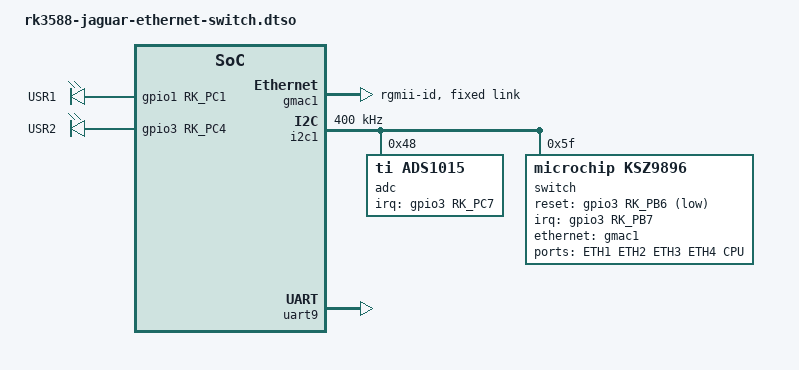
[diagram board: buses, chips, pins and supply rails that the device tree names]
// SPDX-License-Identifier: (GPL-2.0+ OR MIT)
/*
 * Copyright (c) 2025 Cherry Embedded Solutions GmbH
 *
 * Device Tree Overlay for the Ethernet Switch adapter for the Mezzanine
 * connector on RK3588 Jaguar
 * (manual: https://embedded.cherry.de/jaguar-ethernet-switch-user-manual/)
 *
 * This adapter has a KSZ9896 Ethernet Switch with 4 1GbE Ethernet connectors,
 * two user controllable LEDs, and an M12 12-pin connector which exposes the
 * following signals:
 *  - RS232/RS485 (max 250Kbps/500Kbps, RX pin1, TX pin2)
 *  - two digital inputs (pin4 routed to GPIO3_C5 on SoC, pin5 to GPIO4_B4)
 *  - two digital outputs (pin7 routed to GPIO3_D3 on SoC, pin8 to GPIO3_D1)
 *  - two analog inputs (pin10 to channel1 of ADS1015, pin11 to channel2)
 *
 * RK3588 Jaguar can be powered entirely through the adapter via the M8 3-pin
 * connector (12-24V).
 */

/dts-v1/;
/plugin/;

#include <dt-bindings/clock/rockchip,rk3588-cru.h>
#include <dt-bindings/gpio/gpio.h>
#include <dt-bindings/interrupt-controller/irq.h>
#include <dt-bindings/leds/common.h>
#include <dt-bindings/pinctrl/rockchip.h>

&{/} {
	aliases {
		ethernet1 = "/ethernet@fe1c0000";
	};

	mezzanine-leds {
		compatible = "gpio-leds";
		pinctrl-names = "default";
		pinctrl-0 = <&led_usr1_pin &led_usr2_pin>;

		led-1 {
			gpios = <&gpio1 RK_PC1 GPIO_ACTIVE_HIGH>;
			label = "USR1";
		};

		led-2 {
			gpios = <&gpio3 RK_PC4 GPIO_ACTIVE_HIGH>;
			label = "USR2";
		};
	};
};

&gmac1 {
	clock_in_out = "output";
	phy-mode = "rgmii-id";
	pinctrl-names = "default";
	pinctrl-0 = <&gmac1_rx_bus2
		     &gmac1_tx_bus2
		     &gmac1_rgmii_clk
		     &gmac1_rgmii_bus
		     &eth1_pins>;
	rx_delay = <0x0>;
	tx_delay = <0x0>;
	status = "okay";

	fixed-link {
		speed = <1000>;
		full-duplex;
	};
};

&i2c1 {
	#address-cells = <1>;
	/*
	 * ADS1015 can handle high-speed (HS) mode (up to 3.4MHz) on I2C bus,
	 * but SoC can handle only up to 400kHz.
	 */
	clock-frequency = <400000>;
	#size-cells = <0>;
	status = "okay";

	adc@48 {
		compatible = "ti,ads1015";
		reg = <0x48>;
		#address-cells = <1>;
		interrupt-parent = <&gpio3>;
		interrupts = <RK_PC7 IRQ_TYPE_EDGE_FALLING>;
		pinctrl-0 = <&adc_alert>;
		pinctrl-names = "default";
		#io-channel-cells = <1>;
		#size-cells = <0>;

		channel@1 {
			reg = <5>; /* Single-ended between AIN1 and GND */
			ti,datarate = <0>;
			ti,gain = <5>;
		};

		channel@2 {
			reg = <6>; /* Single-ended between AIN2 and GND */
			ti,datarate = <0>;
			ti,gain = <5>;
		};
	};

	switch@5f {
		compatible = "microchip,ksz9896";
		reg = <0x5f>;
		interrupt-parent = <&gpio3>;
		interrupts = <RK_PB7 IRQ_TYPE_EDGE_FALLING>; /* ETH_INTRP_N */
		pinctrl-0 = <&eth_reset_n &eth_intrp_n>;
		pinctrl-names = "default";
		reset-gpios = <&gpio3 RK_PB6 GPIO_ACTIVE_LOW>; /* ETH_RESET */
		microchip,synclko-disable; /* CLKO_25_125 only routed to TP1 */

		ethernet-ports {
			#address-cells = <1>;
			#size-cells = <0>;

			lan1: port@0 {
				reg = <0>;
				label = "ETH1";
			};

			lan2: port@1 {
				reg = <1>;
				label = "ETH2";
			};

			lan3: port@2 {
				reg = <2>;
				label = "ETH3";
			};

			lan4: port@3 {
				reg = <3>;
				label = "ETH4";
			};

			port@5 {
				reg = <5>;
				ethernet = <&gmac1>;
				label = "CPU";
				phy-mode = "rgmii-id";
				rx-internal-delay-ps = <2000>;
				tx-internal-delay-ps = <2000>;

				fixed-link {
					speed = <1000>;
					full-duplex;
				};
			};
		};
	};
};

&pinctrl {
	adc {
		adc_alert: adc-alert-irq {
			rockchip,pins =
				<3 RK_PC7 RK_FUNC_GPIO &pcfg_pull_up>;
		};
	};

	ethernet {
		eth_intrp_n: eth-intrp-n {
			rockchip,pins =
				<3 RK_PB7 RK_FUNC_GPIO &pcfg_pull_none>;
		};

		eth_reset_n: eth-reset-n {
			rockchip,pins =
				<3 RK_PB6 RK_FUNC_GPIO &pcfg_pull_none>;
		};
	};

	leds {
		led_usr1_pin: led-usr1-pin {
			rockchip,pins =
				<1 RK_PC1 RK_FUNC_GPIO &pcfg_pull_down>;
		};

		led_usr2_pin: led-usr2-pin {
			rockchip,pins =
				<3 RK_PC4 RK_FUNC_GPIO &pcfg_pull_down>;
		};
	};
};

&uart9 {
	/* GPIO3_D0/EN_RS485_MODE for switching between RS232 and RS485 */
	pinctrl-0 = <&uart9m2_xfer &uart9m2_rtsn>;
	pinctrl-names = "default";
	linux,rs485-enabled-at-boot-time;
	status = "okay";
};
